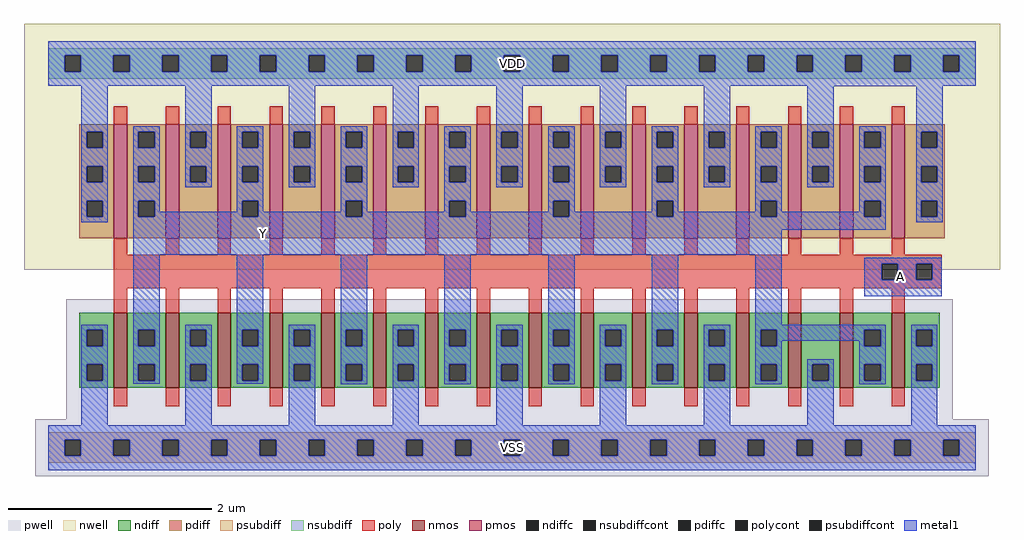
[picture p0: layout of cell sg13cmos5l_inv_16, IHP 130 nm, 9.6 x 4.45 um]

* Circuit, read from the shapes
.subckt sg13cmos5l_inv_16 VSS VDD A Y
XM1 Y A VSS VSS sg13_lv_nmos w=0.74u l=0.13u m=16
XM2 Y A VDD VDD sg13_lv_pmos w=1.12u l=0.13u m=16
.ends

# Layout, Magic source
magic
tech ihp-sg13cmos5l
magscale 1 2
<< nwell >>
rect -48 350 1872 834
<< pwell >>
rect 35 56 1779 292
rect -26 -56 1850 56
<< nmos >>
rect 129 118 155 266
rect 231 118 257 266
rect 333 118 359 266
rect 435 118 461 266
rect 537 118 563 266
rect 639 118 665 266
rect 741 118 767 266
rect 843 118 869 266
rect 945 118 971 266
rect 1047 118 1073 266
rect 1149 118 1175 266
rect 1251 118 1277 266
rect 1353 118 1379 266
rect 1455 118 1481 266
rect 1557 118 1583 266
rect 1659 118 1685 266
<< pmos >>
rect 129 412 155 636
rect 231 412 257 636
rect 333 412 359 636
rect 435 412 461 636
rect 537 412 563 636
rect 639 412 665 636
rect 741 412 767 636
rect 843 412 869 636
rect 945 412 971 636
rect 1047 412 1073 636
rect 1149 412 1175 636
rect 1251 412 1277 636
rect 1353 412 1379 636
rect 1455 412 1481 636
rect 1557 412 1583 636
rect 1659 412 1685 636
<< ndiff >>
rect 61 232 129 266
rect 61 200 75 232
rect 107 200 129 232
rect 61 164 129 200
rect 61 132 75 164
rect 107 132 129 164
rect 61 118 129 132
rect 155 232 231 266
rect 155 200 177 232
rect 209 200 231 232
rect 155 164 231 200
rect 155 132 177 164
rect 209 132 231 164
rect 155 118 231 132
rect 257 232 333 266
rect 257 200 279 232
rect 311 200 333 232
rect 257 164 333 200
rect 257 132 279 164
rect 311 132 333 164
rect 257 118 333 132
rect 359 232 435 266
rect 359 200 381 232
rect 413 200 435 232
rect 359 164 435 200
rect 359 132 381 164
rect 413 132 435 164
rect 359 118 435 132
rect 461 232 537 266
rect 461 200 483 232
rect 515 200 537 232
rect 461 164 537 200
rect 461 132 483 164
rect 515 132 537 164
rect 461 118 537 132
rect 563 232 639 266
rect 563 200 585 232
rect 617 200 639 232
rect 563 164 639 200
rect 563 132 585 164
rect 617 132 639 164
rect 563 118 639 132
rect 665 232 741 266
rect 665 200 687 232
rect 719 200 741 232
rect 665 164 741 200
rect 665 132 687 164
rect 719 132 741 164
rect 665 118 741 132
rect 767 232 843 266
rect 767 200 789 232
rect 821 200 843 232
rect 767 164 843 200
rect 767 132 789 164
rect 821 132 843 164
rect 767 118 843 132
rect 869 232 945 266
rect 869 200 891 232
rect 923 200 945 232
rect 869 164 945 200
rect 869 132 891 164
rect 923 132 945 164
rect 869 118 945 132
rect 971 232 1047 266
rect 971 200 993 232
rect 1025 200 1047 232
rect 971 164 1047 200
rect 971 132 993 164
rect 1025 132 1047 164
rect 971 118 1047 132
rect 1073 232 1149 266
rect 1073 200 1095 232
rect 1127 200 1149 232
rect 1073 164 1149 200
rect 1073 132 1095 164
rect 1127 132 1149 164
rect 1073 118 1149 132
rect 1175 232 1251 266
rect 1175 200 1197 232
rect 1229 200 1251 232
rect 1175 164 1251 200
rect 1175 132 1197 164
rect 1229 132 1251 164
rect 1175 118 1251 132
rect 1277 232 1353 266
rect 1277 200 1299 232
rect 1331 200 1353 232
rect 1277 164 1353 200
rect 1277 132 1299 164
rect 1331 132 1353 164
rect 1277 118 1353 132
rect 1379 232 1455 266
rect 1379 200 1401 232
rect 1433 200 1455 232
rect 1379 164 1455 200
rect 1379 132 1401 164
rect 1433 132 1455 164
rect 1379 118 1455 132
rect 1481 164 1557 266
rect 1481 132 1503 164
rect 1535 132 1557 164
rect 1481 118 1557 132
rect 1583 232 1659 266
rect 1583 200 1605 232
rect 1637 200 1659 232
rect 1583 164 1659 200
rect 1583 132 1605 164
rect 1637 132 1659 164
rect 1583 118 1659 132
rect 1685 232 1753 266
rect 1685 200 1707 232
rect 1739 200 1753 232
rect 1685 164 1753 200
rect 1685 132 1707 164
rect 1739 132 1753 164
rect 1685 118 1753 132
<< pdiff >>
rect 61 622 129 636
rect 61 590 75 622
rect 107 590 129 622
rect 61 554 129 590
rect 61 522 75 554
rect 107 522 129 554
rect 61 486 129 522
rect 61 454 75 486
rect 107 454 129 486
rect 61 412 129 454
rect 155 622 231 636
rect 155 590 177 622
rect 209 590 231 622
rect 155 554 231 590
rect 155 522 177 554
rect 209 522 231 554
rect 155 486 231 522
rect 155 454 177 486
rect 209 454 231 486
rect 155 412 231 454
rect 257 622 333 636
rect 257 590 279 622
rect 311 590 333 622
rect 257 554 333 590
rect 257 522 279 554
rect 311 522 333 554
rect 257 412 333 522
rect 359 622 435 636
rect 359 590 381 622
rect 413 590 435 622
rect 359 554 435 590
rect 359 522 381 554
rect 413 522 435 554
rect 359 486 435 522
rect 359 454 381 486
rect 413 454 435 486
rect 359 412 435 454
rect 461 622 537 636
rect 461 590 483 622
rect 515 590 537 622
rect 461 554 537 590
rect 461 522 483 554
rect 515 522 537 554
rect 461 412 537 522
rect 563 622 639 636
rect 563 590 585 622
rect 617 590 639 622
rect 563 554 639 590
rect 563 522 585 554
rect 617 522 639 554
rect 563 486 639 522
rect 563 454 585 486
rect 617 454 639 486
rect 563 412 639 454
rect 665 622 741 636
rect 665 590 687 622
rect 719 590 741 622
rect 665 554 741 590
rect 665 522 687 554
rect 719 522 741 554
rect 665 412 741 522
rect 767 622 843 636
rect 767 590 789 622
rect 821 590 843 622
rect 767 554 843 590
rect 767 522 789 554
rect 821 522 843 554
rect 767 486 843 522
rect 767 454 789 486
rect 821 454 843 486
rect 767 412 843 454
rect 869 622 945 636
rect 869 590 891 622
rect 923 590 945 622
rect 869 554 945 590
rect 869 522 891 554
rect 923 522 945 554
rect 869 412 945 522
rect 971 622 1047 636
rect 971 590 993 622
rect 1025 590 1047 622
rect 971 554 1047 590
rect 971 522 993 554
rect 1025 522 1047 554
rect 971 486 1047 522
rect 971 454 993 486
rect 1025 454 1047 486
rect 971 412 1047 454
rect 1073 622 1149 636
rect 1073 590 1095 622
rect 1127 590 1149 622
rect 1073 554 1149 590
rect 1073 522 1095 554
rect 1127 522 1149 554
rect 1073 412 1149 522
rect 1175 622 1251 636
rect 1175 590 1197 622
rect 1229 590 1251 622
rect 1175 554 1251 590
rect 1175 522 1197 554
rect 1229 522 1251 554
rect 1175 486 1251 522
rect 1175 454 1197 486
rect 1229 454 1251 486
rect 1175 412 1251 454
rect 1277 622 1353 636
rect 1277 590 1299 622
rect 1331 590 1353 622
rect 1277 554 1353 590
rect 1277 522 1299 554
rect 1331 522 1353 554
rect 1277 412 1353 522
rect 1379 622 1455 636
rect 1379 590 1401 622
rect 1433 590 1455 622
rect 1379 554 1455 590
rect 1379 522 1401 554
rect 1433 522 1455 554
rect 1379 486 1455 522
rect 1379 454 1401 486
rect 1433 454 1455 486
rect 1379 412 1455 454
rect 1481 622 1557 636
rect 1481 590 1503 622
rect 1535 590 1557 622
rect 1481 554 1557 590
rect 1481 522 1503 554
rect 1535 522 1557 554
rect 1481 412 1557 522
rect 1583 622 1659 636
rect 1583 590 1605 622
rect 1637 590 1659 622
rect 1583 554 1659 590
rect 1583 522 1605 554
rect 1637 522 1659 554
rect 1583 486 1659 522
rect 1583 454 1605 486
rect 1637 454 1659 486
rect 1583 412 1659 454
rect 1685 622 1763 636
rect 1685 590 1717 622
rect 1749 590 1763 622
rect 1685 554 1763 590
rect 1685 522 1717 554
rect 1749 522 1763 554
rect 1685 486 1763 522
rect 1685 454 1717 486
rect 1749 454 1763 486
rect 1685 412 1763 454
<< ndiffc >>
rect 75 200 107 232
rect 75 132 107 164
rect 177 200 209 232
rect 177 132 209 164
rect 279 200 311 232
rect 279 132 311 164
rect 381 200 413 232
rect 381 132 413 164
rect 483 200 515 232
rect 483 132 515 164
rect 585 200 617 232
rect 585 132 617 164
rect 687 200 719 232
rect 687 132 719 164
rect 789 200 821 232
rect 789 132 821 164
rect 891 200 923 232
rect 891 132 923 164
rect 993 200 1025 232
rect 993 132 1025 164
rect 1095 200 1127 232
rect 1095 132 1127 164
rect 1197 200 1229 232
rect 1197 132 1229 164
rect 1299 200 1331 232
rect 1299 132 1331 164
rect 1401 200 1433 232
rect 1401 132 1433 164
rect 1503 132 1535 164
rect 1605 200 1637 232
rect 1605 132 1637 164
rect 1707 200 1739 232
rect 1707 132 1739 164
<< pdiffc >>
rect 75 590 107 622
rect 75 522 107 554
rect 75 454 107 486
rect 177 590 209 622
rect 177 522 209 554
rect 177 454 209 486
rect 279 590 311 622
rect 279 522 311 554
rect 381 590 413 622
rect 381 522 413 554
rect 381 454 413 486
rect 483 590 515 622
rect 483 522 515 554
rect 585 590 617 622
rect 585 522 617 554
rect 585 454 617 486
rect 687 590 719 622
rect 687 522 719 554
rect 789 590 821 622
rect 789 522 821 554
rect 789 454 821 486
rect 891 590 923 622
rect 891 522 923 554
rect 993 590 1025 622
rect 993 522 1025 554
rect 993 454 1025 486
rect 1095 590 1127 622
rect 1095 522 1127 554
rect 1197 590 1229 622
rect 1197 522 1229 554
rect 1197 454 1229 486
rect 1299 590 1331 622
rect 1299 522 1331 554
rect 1401 590 1433 622
rect 1401 522 1433 554
rect 1401 454 1433 486
rect 1503 590 1535 622
rect 1503 522 1535 554
rect 1605 590 1637 622
rect 1605 522 1637 554
rect 1605 454 1637 486
rect 1717 590 1749 622
rect 1717 522 1749 554
rect 1717 454 1749 486
<< psubdiff >>
rect 0 16 1824 30
rect 0 -16 32 16
rect 64 -16 128 16
rect 160 -16 224 16
rect 256 -16 320 16
rect 352 -16 416 16
rect 448 -16 512 16
rect 544 -16 608 16
rect 640 -16 704 16
rect 736 -16 800 16
rect 832 -16 896 16
rect 928 -16 992 16
rect 1024 -16 1088 16
rect 1120 -16 1184 16
rect 1216 -16 1280 16
rect 1312 -16 1376 16
rect 1408 -16 1472 16
rect 1504 -16 1568 16
rect 1600 -16 1664 16
rect 1696 -16 1760 16
rect 1792 -16 1824 16
rect 0 -30 1824 -16
<< nsubdiff >>
rect 0 772 1824 786
rect 0 740 32 772
rect 64 740 128 772
rect 160 740 224 772
rect 256 740 320 772
rect 352 740 416 772
rect 448 740 512 772
rect 544 740 608 772
rect 640 740 704 772
rect 736 740 800 772
rect 832 740 896 772
rect 928 740 992 772
rect 1024 740 1088 772
rect 1120 740 1184 772
rect 1216 740 1280 772
rect 1312 740 1376 772
rect 1408 740 1472 772
rect 1504 740 1568 772
rect 1600 740 1664 772
rect 1696 740 1760 772
rect 1792 740 1824 772
rect 0 726 1824 740
<< psubdiffcont >>
rect 32 -16 64 16
rect 128 -16 160 16
rect 224 -16 256 16
rect 320 -16 352 16
rect 416 -16 448 16
rect 512 -16 544 16
rect 608 -16 640 16
rect 704 -16 736 16
rect 800 -16 832 16
rect 896 -16 928 16
rect 992 -16 1024 16
rect 1088 -16 1120 16
rect 1184 -16 1216 16
rect 1280 -16 1312 16
rect 1376 -16 1408 16
rect 1472 -16 1504 16
rect 1568 -16 1600 16
rect 1664 -16 1696 16
rect 1760 -16 1792 16
<< nsubdiffcont >>
rect 32 740 64 772
rect 128 740 160 772
rect 224 740 256 772
rect 320 740 352 772
rect 416 740 448 772
rect 512 740 544 772
rect 608 740 640 772
rect 704 740 736 772
rect 800 740 832 772
rect 896 740 928 772
rect 992 740 1024 772
rect 1088 740 1120 772
rect 1184 740 1216 772
rect 1280 740 1312 772
rect 1376 740 1408 772
rect 1472 740 1504 772
rect 1568 740 1600 772
rect 1664 740 1696 772
rect 1760 740 1792 772
<< poly >>
rect 129 636 155 672
rect 231 636 257 672
rect 333 636 359 672
rect 435 636 461 672
rect 537 636 563 672
rect 639 636 665 672
rect 741 636 767 672
rect 843 636 869 672
rect 945 636 971 672
rect 1047 636 1073 672
rect 1149 636 1175 672
rect 1251 636 1277 672
rect 1353 636 1379 672
rect 1455 636 1481 672
rect 1557 636 1583 672
rect 1659 636 1685 672
rect 129 380 155 412
rect 231 380 257 412
rect 333 380 359 412
rect 435 380 461 412
rect 537 380 563 412
rect 639 380 665 412
rect 741 380 767 412
rect 843 380 869 412
rect 945 380 971 412
rect 1047 380 1073 412
rect 1149 380 1175 412
rect 1251 380 1277 412
rect 1353 380 1379 412
rect 1455 380 1481 412
rect 1557 380 1583 412
rect 1659 380 1685 412
rect 129 362 1757 380
rect 129 330 1639 362
rect 1671 330 1707 362
rect 1739 330 1757 362
rect 129 314 1757 330
rect 129 266 155 314
rect 231 266 257 314
rect 333 266 359 314
rect 435 266 461 314
rect 537 266 563 314
rect 639 266 665 314
rect 741 266 767 314
rect 843 266 869 314
rect 945 266 971 314
rect 1047 266 1073 314
rect 1149 266 1175 314
rect 1251 266 1277 314
rect 1353 266 1379 314
rect 1455 266 1481 314
rect 1557 266 1583 314
rect 1659 266 1685 314
rect 129 82 155 118
rect 231 82 257 118
rect 333 82 359 118
rect 435 82 461 118
rect 537 82 563 118
rect 639 82 665 118
rect 741 82 767 118
rect 843 82 869 118
rect 945 82 971 118
rect 1047 82 1073 118
rect 1149 82 1175 118
rect 1251 82 1277 118
rect 1353 82 1379 118
rect 1455 82 1481 118
rect 1557 82 1583 118
rect 1659 82 1685 118
<< polycont >>
rect 1639 330 1671 362
rect 1707 330 1739 362
<< metal1 >>
rect 0 772 1824 800
rect 0 740 32 772
rect 64 740 128 772
rect 160 740 224 772
rect 256 740 320 772
rect 352 740 416 772
rect 448 740 512 772
rect 544 740 608 772
rect 640 740 704 772
rect 736 740 800 772
rect 832 740 896 772
rect 928 740 992 772
rect 1024 740 1088 772
rect 1120 740 1184 772
rect 1216 740 1280 772
rect 1312 740 1376 772
rect 1408 740 1472 772
rect 1504 740 1568 772
rect 1600 740 1664 772
rect 1696 740 1760 772
rect 1792 740 1824 772
rect 0 712 1824 740
rect 65 622 117 712
rect 65 590 75 622
rect 107 590 117 622
rect 65 554 117 590
rect 65 522 75 554
rect 107 522 117 554
rect 65 486 117 522
rect 65 454 75 486
rect 107 454 117 486
rect 65 444 117 454
rect 167 622 219 632
rect 167 590 177 622
rect 209 590 219 622
rect 167 554 219 590
rect 167 522 177 554
rect 209 522 219 554
rect 167 486 219 522
rect 269 622 321 712
rect 269 590 279 622
rect 311 590 321 622
rect 269 554 321 590
rect 269 522 279 554
rect 311 522 321 554
rect 269 512 321 522
rect 371 622 423 632
rect 371 590 381 622
rect 413 590 423 622
rect 371 554 423 590
rect 371 522 381 554
rect 413 522 423 554
rect 167 454 177 486
rect 209 464 219 486
rect 371 486 423 522
rect 473 622 525 712
rect 473 590 483 622
rect 515 590 525 622
rect 473 554 525 590
rect 473 522 483 554
rect 515 522 525 554
rect 473 512 525 522
rect 575 622 627 632
rect 575 590 585 622
rect 617 590 627 622
rect 575 554 627 590
rect 575 522 585 554
rect 617 522 627 554
rect 371 464 381 486
rect 209 454 381 464
rect 413 464 423 486
rect 575 486 627 522
rect 677 622 729 712
rect 677 590 687 622
rect 719 590 729 622
rect 677 554 729 590
rect 677 522 687 554
rect 719 522 729 554
rect 677 512 729 522
rect 779 622 831 632
rect 779 590 789 622
rect 821 590 831 622
rect 779 554 831 590
rect 779 522 789 554
rect 821 522 831 554
rect 575 464 585 486
rect 413 454 585 464
rect 617 464 627 486
rect 779 486 831 522
rect 881 622 933 712
rect 881 590 891 622
rect 923 590 933 622
rect 881 554 933 590
rect 881 522 891 554
rect 923 522 933 554
rect 881 512 933 522
rect 983 622 1035 632
rect 983 590 993 622
rect 1025 590 1035 622
rect 983 554 1035 590
rect 983 522 993 554
rect 1025 522 1035 554
rect 779 464 789 486
rect 617 454 789 464
rect 821 464 831 486
rect 983 486 1035 522
rect 1085 622 1137 712
rect 1085 590 1095 622
rect 1127 590 1137 622
rect 1085 554 1137 590
rect 1085 522 1095 554
rect 1127 522 1137 554
rect 1085 512 1137 522
rect 1187 622 1239 632
rect 1187 590 1197 622
rect 1229 590 1239 622
rect 1187 554 1239 590
rect 1187 522 1197 554
rect 1229 522 1239 554
rect 983 464 993 486
rect 821 454 993 464
rect 1025 464 1035 486
rect 1187 486 1239 522
rect 1289 622 1341 712
rect 1493 711 1759 712
rect 1289 590 1299 622
rect 1331 590 1341 622
rect 1289 554 1341 590
rect 1289 522 1299 554
rect 1331 522 1341 554
rect 1289 512 1341 522
rect 1391 622 1443 632
rect 1391 590 1401 622
rect 1433 590 1443 622
rect 1391 554 1443 590
rect 1391 522 1401 554
rect 1433 522 1443 554
rect 1187 464 1197 486
rect 1025 454 1197 464
rect 1229 464 1239 486
rect 1391 486 1443 522
rect 1493 622 1545 711
rect 1493 590 1503 622
rect 1535 590 1545 622
rect 1493 554 1545 590
rect 1493 522 1503 554
rect 1535 522 1545 554
rect 1493 512 1545 522
rect 1595 622 1647 632
rect 1595 590 1605 622
rect 1637 590 1647 622
rect 1595 554 1647 590
rect 1595 522 1605 554
rect 1637 522 1647 554
rect 1391 464 1401 486
rect 1229 454 1401 464
rect 1433 464 1443 486
rect 1595 486 1647 522
rect 1595 464 1605 486
rect 1433 454 1605 464
rect 1637 454 1647 486
rect 167 429 1647 454
rect 1707 622 1759 711
rect 1707 590 1717 622
rect 1749 590 1759 622
rect 1707 554 1759 590
rect 1707 522 1717 554
rect 1749 522 1759 554
rect 1707 486 1759 522
rect 1707 454 1717 486
rect 1749 454 1759 486
rect 1707 444 1759 454
rect 167 380 1443 429
rect 65 232 117 242
rect 65 200 75 232
rect 107 200 117 232
rect 65 164 117 200
rect 65 132 75 164
rect 107 132 117 164
rect 65 44 117 132
rect 167 232 219 380
rect 167 200 177 232
rect 209 200 219 232
rect 167 164 219 200
rect 167 132 177 164
rect 209 132 219 164
rect 167 126 219 132
rect 269 232 321 242
rect 269 200 279 232
rect 311 200 321 232
rect 269 164 321 200
rect 269 132 279 164
rect 311 132 321 164
rect 269 44 321 132
rect 371 232 423 380
rect 371 200 381 232
rect 413 200 423 232
rect 371 164 423 200
rect 371 132 381 164
rect 413 132 423 164
rect 371 126 423 132
rect 473 232 525 242
rect 473 200 483 232
rect 515 200 525 232
rect 473 164 525 200
rect 473 132 483 164
rect 515 132 525 164
rect 473 44 525 132
rect 575 232 627 380
rect 575 200 585 232
rect 617 200 627 232
rect 575 164 627 200
rect 575 132 585 164
rect 617 132 627 164
rect 575 125 627 132
rect 677 232 729 242
rect 677 200 687 232
rect 719 200 729 232
rect 677 164 729 200
rect 677 132 687 164
rect 719 132 729 164
rect 677 44 729 132
rect 779 232 831 380
rect 779 200 789 232
rect 821 200 831 232
rect 779 164 831 200
rect 779 132 789 164
rect 821 132 831 164
rect 779 125 831 132
rect 881 232 933 242
rect 881 200 891 232
rect 923 200 933 232
rect 881 164 933 200
rect 881 132 891 164
rect 923 132 933 164
rect 881 44 933 132
rect 983 232 1035 380
rect 983 200 993 232
rect 1025 200 1035 232
rect 983 164 1035 200
rect 983 132 993 164
rect 1025 132 1035 164
rect 983 125 1035 132
rect 1085 232 1137 242
rect 1085 200 1095 232
rect 1127 200 1137 232
rect 1085 164 1137 200
rect 1085 132 1095 164
rect 1127 132 1137 164
rect 1085 44 1137 132
rect 1187 232 1239 380
rect 1391 242 1443 380
rect 1605 362 1757 374
rect 1605 330 1639 362
rect 1671 330 1707 362
rect 1739 330 1757 362
rect 1605 298 1757 330
rect 1187 200 1197 232
rect 1229 200 1239 232
rect 1187 164 1239 200
rect 1187 132 1197 164
rect 1229 132 1239 164
rect 1187 125 1239 132
rect 1289 232 1341 242
rect 1289 200 1299 232
rect 1331 200 1341 232
rect 1289 164 1341 200
rect 1289 132 1299 164
rect 1331 132 1341 164
rect 1289 44 1341 132
rect 1391 232 1647 242
rect 1391 200 1401 232
rect 1433 210 1605 232
rect 1433 200 1443 210
rect 1391 164 1443 200
rect 1595 200 1605 210
rect 1637 200 1647 232
rect 1391 132 1401 164
rect 1433 132 1443 164
rect 1391 125 1443 132
rect 1493 164 1545 174
rect 1493 132 1503 164
rect 1535 132 1545 164
rect 1493 44 1545 132
rect 1595 164 1647 200
rect 1595 132 1605 164
rect 1637 132 1647 164
rect 1595 125 1647 132
rect 1697 232 1749 242
rect 1697 200 1707 232
rect 1739 200 1749 232
rect 1697 164 1749 200
rect 1697 132 1707 164
rect 1739 132 1749 164
rect 1697 44 1749 132
rect 0 16 1824 44
rect 0 -16 32 16
rect 64 -16 128 16
rect 160 -16 224 16
rect 256 -16 320 16
rect 352 -16 416 16
rect 448 -16 512 16
rect 544 -16 608 16
rect 640 -16 704 16
rect 736 -16 800 16
rect 832 -16 896 16
rect 928 -16 992 16
rect 1024 -16 1088 16
rect 1120 -16 1184 16
rect 1216 -16 1280 16
rect 1312 -16 1376 16
rect 1408 -16 1472 16
rect 1504 -16 1568 16
rect 1600 -16 1664 16
rect 1696 -16 1760 16
rect 1792 -16 1824 16
rect 0 -44 1824 -16
<< labels >>
flabel metal1 s 0 -44 1824 44 0 FreeSans 400 0 0 0 VSS
port 2 nsew
flabel metal1 s 0 712 1824 800 0 FreeSans 400 0 0 0 VDD
port 3 nsew
flabel metal1 s 1605 298 1749 374 0 FreeSans 400 0 0 0 A
port 4 nsew
flabel metal1 s 219 380 627 464 0 FreeSans 400 0 0 0 Y
port 5 nsew
<< properties >>
string FIXED_BBOX 0 0 1824 756
string GDS_END 15412
string GDS_FILE pll_digital.gds
string GDS_START 2044
<< end >>
